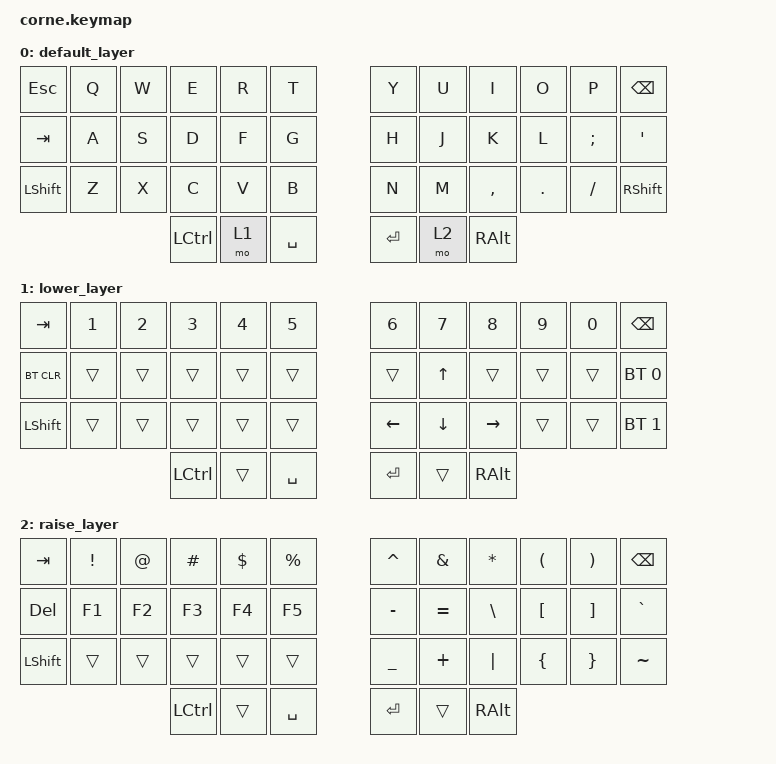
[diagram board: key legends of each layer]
/*
 * Copyright (c) 2020 The ZMK Contributors
 *
 * SPDX-License-Identifier: MIT
 */

#include <behaviors.dtsi>
#include <dt-bindings/zmk/keys.h>
#include <dt-bindings/zmk/bt.h>

/ {
        keymap {
                compatible = "zmk,keymap";

                default_layer {
// -----------------------------------------------------------------------------------------
// |  TAB |  Q  |  W  |  E  |  R  |  T  |   |  Y  |  U   |  I  |  O  |  P  | BSPC |
// | CTRL |  A  |  S  |  D  |  F  |  G  |   |  H  |  J   |  K  |  L  |  ;  |  '   |
// | SHFT |  Z  |  X  |  C  |  V  |  B  |   |  N  |  M   |  ,  |  .  |  /  | ESC  |
//                    | GUI | LWR | SPC |   | ENT | RSE  | ALT |
                        bindings = <
   &kp ESC   &kp Q &kp W &kp E &kp R &kp T   &kp Y &kp U  &kp I     &kp O   &kp P    &kp BSPC
   &kp TAB &kp A &kp S &kp D &kp F &kp G   &kp H &kp J  &kp K     &kp L   &kp SEMI &kp SQT
   &kp LSHFT &kp Z &kp X &kp C &kp V &kp B   &kp N &kp M  &kp COMMA &kp DOT &kp FSLH &kp RSHFT
                  &kp LCTRL &mo 1 &kp SPACE   &kp RET &mo 2 &kp RALT
                        >;
                };
                lower_layer {
// -----------------------------------------------------------------------------------------
// |  TAB |  1  |  2  |  3  |  4  |  5  |   |  6  |  7  |  8  |  9  |  0  | BSPC |
// | BTCLR| BT1 | BT2 | BT3 | BT4 | BT5 |   | LFT | DWN |  UP | RGT |     |      |
// | SHFT |     |     |     |     |     |   |     |     |     |     |     |      |
//                    | GUI |     | SPC |   | ENT |     | ALT |
                        bindings = <
   &kp TAB    &kp N1       &kp N2       &kp N3       &kp N4       &kp N5         &kp N6   &kp N7   &kp N8 &kp N9    &kp N0 &kp BSPC
   &bt BT_CLR &trans &trans &trans &trans &trans   &trans &kp UP &trans &trans &trans &bt BT_SEL 0
   &kp LSHFT  &trans       &trans       &trans       &trans       &trans         &kp LEFT   &kp DOWN   &kp RIGHT &trans    &trans &bt BT_SEL 1
                                    &kp LCTRL     &trans       &kp SPACE      &kp RET  &trans   &kp RALT
                        >;
                };

                raise_layer {
// -----------------------------------------------------------------------------------------
// |  TAB |  !  |  @  |  #  |  $  |  %  |   |  ^  |  &  |  *  |  (  |  )  | BSPC |
// | CTRL |     |     |     |     |     |   |  -  |  =  |  [  |  ]  |  \  |  `   |
// | SHFT |     |     |     |     |     |   |  _  |  +  |  {  |  }  | "|" |  ~   |
//                    | GUI |     | SPC |   | ENT |     | ALT |
                        bindings = <
   &kp  TAB  &kp EXCL &kp AT &kp HASH &kp DLLR &kp PRCNT   &kp CARET &kp AMPS  &kp ASTRK &kp LPAR &kp RPAR &kp BSPC
   &kp DEL &kp F1   &kp F2 &kp F3   &kp F4   &kp F5      &kp MINUS &kp EQUAL &kp BSLH &kp LBKT  &kp RBKT &kp GRAVE
   &kp LSHFT &trans   &trans &trans   &trans   &trans      &kp UNDER &kp PLUS &kp PIPE &kp LBRC &kp RBRC &kp TILDE
                             &kp LCTRL &trans   &kp SPACE   &kp RET   &trans    &kp RALT
                        >;
                };
        };
};
